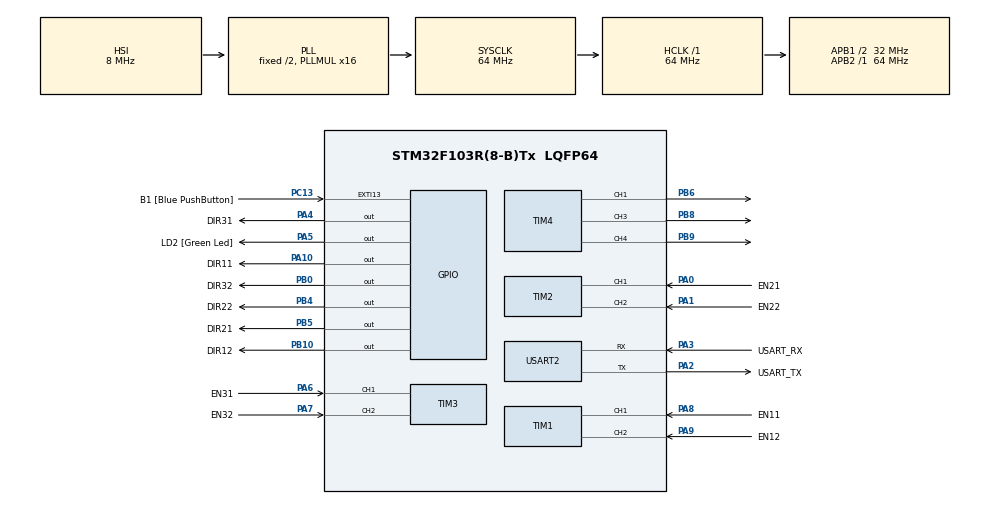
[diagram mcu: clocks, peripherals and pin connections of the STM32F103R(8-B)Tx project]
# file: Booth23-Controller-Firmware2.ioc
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Mcu.Family=STM32F1
Mcu.Name=STM32F103R(8-B)Tx
Mcu.Package=LQFP64
NVIC.EXTI15_10_IRQn=true\:0\:0\:false\:false\:true\:true\:true\:true
NVIC.PriorityGroup=NVIC_PRIORITYGROUP_4
PA0-WKUP.GPIO_Label=EN21
PA0-WKUP.Signal=S_TIM2_CH1_ETR
PA1.GPIO_Label=EN22
PA1.Signal=S_TIM2_CH2
PA10.GPIO_Label=DIR11
PA10.Signal=GPIO_Output
PA13.GPIO_Label=TMS
PA13.Mode=Serial_Wire
PA13.Signal=SYS_JTMS-SWDIO
PA14.GPIO_Label=TCK
PA14.Mode=Serial_Wire
PA14.Signal=SYS_JTCK-SWCLK
PA2.GPIO_Label=USART_TX
PA2.GPIO_Mode=GPIO_MODE_AF_PP
PA2.GPIO_PuPd=GPIO_NOPULL
PA2.GPIO_Speed=GPIO_SPEED_FREQ_LOW
PA2.Mode=Asynchronous
PA2.Signal=USART2_TX
PA3.GPIO_Label=USART_RX
PA3.GPIO_Mode=GPIO_MODE_AF_PP
PA3.GPIO_PuPd=GPIO_NOPULL
PA3.GPIO_Speed=GPIO_SPEED_FREQ_LOW
PA3.Mode=Asynchronous
PA3.Signal=USART2_RX
PA4.GPIO_Label=DIR31
PA4.Signal=GPIO_Output
PA5.GPIO_Label=LD2 [Green Led]
PA5.GPIO_ModeDefaultOutputPP=GPIO_MODE_OUTPUT_PP
PA5.GPIO_PuPd=GPIO_NOPULL
PA5.GPIO_Speed=GPIO_SPEED_FREQ_LOW
PA5.Signal=GPIO_Output
PA6.GPIO_Label=EN31
PA6.Signal=S_TIM3_CH1
PA7.GPIO_Label=EN32
PA7.Signal=S_TIM3_CH2
PA8.GPIO_Label=EN11
PA8.Signal=S_TIM1_CH1
PA9.GPIO_Label=EN12
PA9.Signal=S_TIM1_CH2
PB0.GPIO_Label=DIR32
PB0.Signal=GPIO_Output
PB10.GPIO_Label=DIR12
PB10.Signal=GPIO_Output
PB3.GPIO_Label=SWO
PB3.Signal=SYS_JTDO-TRACESWO
PB4.GPIO_Label=DIR22
PB4.Signal=GPIO_Output
PB5.GPIO_Label=DIR21
PB5.Signal=GPIO_Output
PB6.GPIO_ModeDefaultPP=GPIO_MODE_AF_PP
PB6.GPIO_Speed=GPIO_SPEED_FREQ_LOW
PB6.Signal=S_TIM4_CH1
PB8.GPIO_ModeDefaultPP=GPIO_MODE_AF_PP
PB8.GPIO_Speed=GPIO_SPEED_FREQ_LOW
PB8.Signal=S_TIM4_CH3
PB9.GPIO_ModeDefaultPP=GPIO_MODE_AF_PP
PB9.GPIO_Speed=GPIO_SPEED_FREQ_LOW
PB9.Signal=S_TIM4_CH4
PC13-TAMPER-RTC.GPIO_Label=B1 [Blue PushButton]
PC13-TAMPER-RTC.GPIO_PuPd=GPIO_NOPULL
PC13-TAMPER-RTC.Signal=GPXTI13
PC14-OSC32_IN.Mode=LSE-External-Oscillator
PC14-OSC32_IN.Signal=RCC_OSC32_IN
PC15-OSC32_OUT.Mode=LSE-External-Oscillator
PC15-OSC32_OUT.Signal=RCC_OSC32_OUT
PD0-OSC_IN.Mode=HSE-External-Oscillator
PD0-OSC_IN.Signal=RCC_OSC_IN
PD1-OSC_OUT.Mode=HSE-External-Oscillator
PD1-OSC_OUT.Signal=RCC_OSC_OUT
ProjectManager.HeapSize=0x200
ProjectManager.StackSize=0x400
ProjectManager.TargetToolchain=STM32CubeIDE
RCC.AHBFreq_Value=64000000
RCC.APB1CLKDivider=RCC_HCLK_DIV2
RCC.APB1Freq_Value=32000000
RCC.APB1TimFreq_Value=64000000
RCC.APB2Freq_Value=64000000
RCC.APB2TimFreq_Value=64000000
RCC.HCLKFreq_Value=64000000
RCC.PLLMUL=RCC_PLL_MUL16
RCC.RTCClockSelection=RCC_RTCCLKSOURCE_LSE
RCC.SYSCLKFreq_VALUE=64000000
RCC.SYSCLKSource=RCC_SYSCLKSOURCE_PLLCLK
RCC.USBFreq_Value=64000000
SH.S_TIM1_CH1.0=TIM1_CH1,Encoder_Interface
SH.S_TIM1_CH2.0=TIM1_CH2,Encoder_Interface
SH.S_TIM2_CH1_ETR.0=TIM2_CH1,Encoder_Interface
SH.S_TIM2_CH2.0=TIM2_CH2,Encoder_Interface
SH.S_TIM3_CH1.0=TIM3_CH1,Encoder_Interface
SH.S_TIM3_CH2.0=TIM3_CH2,Encoder_Interface
SH.S_TIM4_CH1.0=TIM4_CH1,PWM Generation1 CH1
SH.S_TIM4_CH3.0=TIM4_CH3,PWM Generation3 CH3
SH.S_TIM4_CH4.0=TIM4_CH4,PWM Generation4 CH4
TIM4.AutoReloadPreload=TIM_AUTORELOAD_PRELOAD_ENABLE
TIM4.Channel-PWM\ Generation1\ CH1=TIM_CHANNEL_1
TIM4.Channel-PWM\ Generation3\ CH3=TIM_CHANNEL_3
TIM4.Channel-PWM\ Generation4\ CH4=TIM_CHANNEL_4
USART2.VirtualMode=VM_ASYNC
VP_TIM4_VS_ClockSourceINT.Mode=Internal
board=NUCLEO-F103RB

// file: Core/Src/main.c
/* USER CODE BEGIN Header */
/**
  ******************************************************************************
  * @file           : main.c
  * @brief          : Main program body
  ******************************************************************************
  * @attention
  *
  * Copyright (c) 2023 STMicroelectronics.
  * All rights reserved.
  *
  * This software is licensed under terms that can be found in the LICENSE file
  * in the root directory of this software component.
  * If no LICENSE file comes with this software, it is provided AS-IS.
  *
  ******************************************************************************
  */
/* USER CODE END Header */
#include "main.h"

/* USER CODE BEGIN PTD */
typedef struct Motor_t {
	GPIO_TypeDef *dir1_port;
	uint16_t dir1_pin;
	GPIO_TypeDef *dir2_port;
	uint16_t dir2_pin;
	TIM_HandleTypeDef *pwm_tim;
	uint16_t pwm_tim_ch;
} Motor_t;

typedef enum Direction_t {
	OFF = 0,
	BLOCK = 1,
	FORWARD = 2,
	BACK = 3
} Direction_t;
/* USER CODE END PTD */

TIM_HandleTypeDef htim1;
TIM_HandleTypeDef htim2;
TIM_HandleTypeDef htim3;
TIM_HandleTypeDef htim4;

UART_HandleTypeDef huart2;

/* USER CODE BEGIN PV */
Motor_t motor1 = {
	.dir1_port = GPIOA,
	.dir1_pin = DIR11_Pin,
	.dir2_port = GPIOB,
	.dir2_pin = DIR12_Pin,
	.pwm_tim = &htim4,
	.pwm_tim_ch = TIM_CHANNEL_1
};

/* USER CODE END PV */

void SystemClock_Config(void);
static void MX_GPIO_Init(void);
static void MX_TIM1_Init(void);
static void MX_TIM2_Init(void);
static void MX_TIM3_Init(void);
static void MX_TIM4_Init(void);
static void MX_USART2_UART_Init(void);
/* USER CODE BEGIN PFP */
void drive_motor(Motor_t* motor, Direction_t dir, uint16_t speed);
/* USER CODE END PFP */

int main(void)
{

  /* MCU Configuration--------------------------------------------------------*/

  /* Reset of all peripherals, Initializes the Flash interface and the Systick. */
  HAL_Init();

  /* Configure the system clock */
  SystemClock_Config();

  /* Initialize all configured peripherals */
  MX_GPIO_Init();
  MX_TIM1_Init();
  MX_TIM2_Init();
  MX_TIM3_Init();
  MX_TIM4_Init();
  MX_USART2_UART_Init();
  /* USER CODE BEGIN 2 */
  HAL_TIM_PWM_Start(&htim4, TIM_CHANNEL_1);
  HAL_TIM_PWM_Start(&htim4, TIM_CHANNEL_3);
  HAL_TIM_PWM_Start(&htim4, TIM_CHANNEL_4);

  HAL_TIM_Encoder_Start(&htim1, TIM_CHANNEL_ALL);
  drive_motor(&motor1, BACK, 65000);

  uint8_t MSG[50] = {'\0'};
  /* USER CODE END 2 */

  /* Infinite loop */
  while (1)
  {
	int val = (TIM1->CNT)>>2;
	sprintf(MSG, "%d %d %d\n\r", (TIM1->CNT)>>2, (TIM2->CNT)>>2, (TIM3->CNT)>>2);
	HAL_UART_Transmit(&huart2, MSG, sizeof(MSG), 100);

  }
}

void SystemClock_Config(void)
{
  RCC_OscInitTypeDef RCC_OscInitStruct = {0};
  RCC_ClkInitTypeDef RCC_ClkInitStruct = {0};

  /** Initializes the RCC Oscillators according to the specified parameters
  * in the RCC_OscInitTypeDef structure.
  */
  RCC_OscInitStruct.OscillatorType = RCC_OSCILLATORTYPE_HSI;
  RCC_OscInitStruct.HSIState = RCC_HSI_ON;
  RCC_OscInitStruct.HSICalibrationValue = RCC_HSICALIBRATION_DEFAULT;
  RCC_OscInitStruct.PLL.PLLState = RCC_PLL_ON;
  RCC_OscInitStruct.PLL.PLLSource = RCC_PLLSOURCE_HSI_DIV2;
  RCC_OscInitStruct.PLL.PLLMUL = RCC_PLL_MUL16;
  if (HAL_RCC_OscConfig(&RCC_OscInitStruct) != HAL_OK)
  {
    Error_Handler();
  }

  /** Initializes the CPU, AHB and APB buses clocks
  */
  RCC_ClkInitStruct.ClockType = RCC_CLOCKTYPE_HCLK|RCC_CLOCKTYPE_SYSCLK
                              |RCC_CLOCKTYPE_PCLK1|RCC_CLOCKTYPE_PCLK2;
  RCC_ClkInitStruct.SYSCLKSource = RCC_SYSCLKSOURCE_PLLCLK;
  RCC_ClkInitStruct.AHBCLKDivider = RCC_SYSCLK_DIV1;
  RCC_ClkInitStruct.APB1CLKDivider = RCC_HCLK_DIV2;
  RCC_ClkInitStruct.APB2CLKDivider = RCC_HCLK_DIV1;

  if (HAL_RCC_ClockConfig(&RCC_ClkInitStruct, FLASH_LATENCY_2) != HAL_OK)
  {
    Error_Handler();
  }
}

static void MX_TIM1_Init(void)
{

  TIM_Encoder_InitTypeDef sConfig = {0};
  TIM_MasterConfigTypeDef sMasterConfig = {0};

  htim1.Instance = TIM1;
  htim1.Init.Prescaler = 0;
  htim1.Init.CounterMode = TIM_COUNTERMODE_UP;
  htim1.Init.Period = 65535;
  htim1.Init.ClockDivision = TIM_CLOCKDIVISION_DIV1;
  htim1.Init.RepetitionCounter = 0;
  htim1.Init.AutoReloadPreload = TIM_AUTORELOAD_PRELOAD_DISABLE;
  sConfig.EncoderMode = TIM_ENCODERMODE_TI1;
  sConfig.IC1Polarity = TIM_ICPOLARITY_RISING;
  sConfig.IC1Selection = TIM_ICSELECTION_DIRECTTI;
  sConfig.IC1Prescaler = TIM_ICPSC_DIV1;
  sConfig.IC1Filter = 0;
  sConfig.IC2Polarity = TIM_ICPOLARITY_RISING;
  sConfig.IC2Selection = TIM_ICSELECTION_DIRECTTI;
  sConfig.IC2Prescaler = TIM_ICPSC_DIV1;
  sConfig.IC2Filter = 0;
  if (HAL_TIM_Encoder_Init(&htim1, &sConfig) != HAL_OK)
  {
    Error_Handler();
  }
  sMasterConfig.MasterOutputTrigger = TIM_TRGO_RESET;
  sMasterConfig.MasterSlaveMode = TIM_MASTERSLAVEMODE_DISABLE;
  if (HAL_TIMEx_MasterConfigSynchronization(&htim1, &sMasterConfig) != HAL_OK)
  {
    Error_Handler();
  }

}

static void MX_TIM2_Init(void)
{

  TIM_Encoder_InitTypeDef sConfig = {0};
  TIM_MasterConfigTypeDef sMasterConfig = {0};

  htim2.Instance = TIM2;
  htim2.Init.Prescaler = 0;
  htim2.Init.CounterMode = TIM_COUNTERMODE_UP;
  htim2.Init.Period = 65535;
  htim2.Init.ClockDivision = TIM_CLOCKDIVISION_DIV1;
  htim2.Init.AutoReloadPreload = TIM_AUTORELOAD_PRELOAD_DISABLE;
  sConfig.EncoderMode = TIM_ENCODERMODE_TI1;
  sConfig.IC1Polarity = TIM_ICPOLARITY_RISING;
  sConfig.IC1Selection = TIM_ICSELECTION_DIRECTTI;
  sConfig.IC1Prescaler = TIM_ICPSC_DIV1;
  sConfig.IC1Filter = 0;
  sConfig.IC2Polarity = TIM_ICPOLARITY_RISING;
  sConfig.IC2Selection = TIM_ICSELECTION_DIRECTTI;
  sConfig.IC2Prescaler = TIM_ICPSC_DIV1;
  sConfig.IC2Filter = 0;
  if (HAL_TIM_Encoder_Init(&htim2, &sConfig) != HAL_OK)
  {
    Error_Handler();
  }
  sMasterConfig.MasterOutputTrigger = TIM_TRGO_RESET;
  sMasterConfig.MasterSlaveMode = TIM_MASTERSLAVEMODE_DISABLE;
  if (HAL_TIMEx_MasterConfigSynchronization(&htim2, &sMasterConfig) != HAL_OK)
  {
    Error_Handler();
  }

}

static void MX_TIM3_Init(void)
{

  TIM_Encoder_InitTypeDef sConfig = {0};
  TIM_MasterConfigTypeDef sMasterConfig = {0};

  htim3.Instance = TIM3;
  htim3.Init.Prescaler = 0;
  htim3.Init.CounterMode = TIM_COUNTERMODE_UP;
  htim3.Init.Period = 65535;
  htim3.Init.ClockDivision = TIM_CLOCKDIVISION_DIV1;
  htim3.Init.AutoReloadPreload = TIM_AUTORELOAD_PRELOAD_DISABLE;
  sConfig.EncoderMode = TIM_ENCODERMODE_TI1;
  sConfig.IC1Polarity = TIM_ICPOLARITY_RISING;
  sConfig.IC1Selection = TIM_ICSELECTION_DIRECTTI;
  sConfig.IC1Prescaler = TIM_ICPSC_DIV1;
  sConfig.IC1Filter = 0;
  sConfig.IC2Polarity = TIM_ICPOLARITY_RISING;
  sConfig.IC2Selection = TIM_ICSELECTION_DIRECTTI;
  sConfig.IC2Prescaler = TIM_ICPSC_DIV1;
  sConfig.IC2Filter = 0;
  if (HAL_TIM_Encoder_Init(&htim3, &sConfig) != HAL_OK)
  {
    Error_Handler();
  }
  sMasterConfig.MasterOutputTrigger = TIM_TRGO_RESET;
  sMasterConfig.MasterSlaveMode = TIM_MASTERSLAVEMODE_DISABLE;
  if (HAL_TIMEx_MasterConfigSynchronization(&htim3, &sMasterConfig) != HAL_OK)
  {
    Error_Handler();
  }

}

static void MX_TIM4_Init(void)
{

  TIM_ClockConfigTypeDef sClockSourceConfig = {0};
  TIM_MasterConfigTypeDef sMasterConfig = {0};
  TIM_OC_InitTypeDef sConfigOC = {0};

  htim4.Instance = TIM4;
  htim4.Init.Prescaler = 0;
  htim4.Init.CounterMode = TIM_COUNTERMODE_UP;
  htim4.Init.Period = 65535;
  htim4.Init.ClockDivision = TIM_CLOCKDIVISION_DIV1;
  htim4.Init.AutoReloadPreload = TIM_AUTORELOAD_PRELOAD_ENABLE;
  if (HAL_TIM_Base_Init(&htim4) != HAL_OK)
  {
    Error_Handler();
  }
  sClockSourceConfig.ClockSource = TIM_CLOCKSOURCE_INTERNAL;
  if (HAL_TIM_ConfigClockSource(&htim4, &sClockSourceConfig) != HAL_OK)
  {
    Error_Handler();
  }
  if (HAL_TIM_PWM_Init(&htim4) != HAL_OK)
  {
    Error_Handler();
  }
  sMasterConfig.MasterOutputTrigger = TIM_TRGO_RESET;
  sMasterConfig.MasterSlaveMode = TIM_MASTERSLAVEMODE_DISABLE;
  if (HAL_TIMEx_MasterConfigSynchronization(&htim4, &sMasterConfig) != HAL_OK)
  {
    Error_Handler();
  }
  sConfigOC.OCMode = TIM_OCMODE_PWM1;
  sConfigOC.Pulse = 0;
  sConfigOC.OCPolarity = TIM_OCPOLARITY_HIGH;
  sConfigOC.OCFastMode = TIM_OCFAST_DISABLE;
  if (HAL_TIM_PWM_ConfigChannel(&htim4, &sConfigOC, TIM_CHANNEL_1) != HAL_OK)
  {
    Error_Handler();
  }
  if (HAL_TIM_PWM_ConfigChannel(&htim4, &sConfigOC, TIM_CHANNEL_3) != HAL_OK)
  {
    Error_Handler();
  }
  if (HAL_TIM_PWM_ConfigChannel(&htim4, &sConfigOC, TIM_CHANNEL_4) != HAL_OK)
  {
    Error_Handler();
  }
  HAL_TIM_MspPostInit(&htim4);

}

static void MX_USART2_UART_Init(void)
{

  huart2.Instance = USART2;
  huart2.Init.BaudRate = 115200;
  huart2.Init.WordLength = UART_WORDLENGTH_8B;
  huart2.Init.StopBits = UART_STOPBITS_1;
  huart2.Init.Parity = UART_PARITY_NONE;
  huart2.Init.Mode = UART_MODE_TX_RX;
  huart2.Init.HwFlowCtl = UART_HWCONTROL_NONE;
  huart2.Init.OverSampling = UART_OVERSAMPLING_16;
  if (HAL_UART_Init(&huart2) != HAL_OK)
  {
    Error_Handler();
  }

}

static void MX_GPIO_Init(void)
{
  GPIO_InitTypeDef GPIO_InitStruct = {0};

  /* GPIO Ports Clock Enable */
  __HAL_RCC_GPIOC_CLK_ENABLE();
  __HAL_RCC_GPIOD_CLK_ENABLE();
  __HAL_RCC_GPIOA_CLK_ENABLE();
  __HAL_RCC_GPIOB_CLK_ENABLE();

  /*Configure GPIO pin Output Level */
  HAL_GPIO_WritePin(GPIOA, DIR31_Pin|LD2_Pin|DIR11_Pin, GPIO_PIN_RESET);

  /*Configure GPIO pin Output Level */
  HAL_GPIO_WritePin(GPIOB, DIR32_Pin|DIR12_Pin|DIR22_Pin|DIR21_Pin, GPIO_PIN_RESET);

  /*Configure GPIO pin : B1_Pin */
  GPIO_InitStruct.Pin = B1_Pin;
  GPIO_InitStruct.Mode = GPIO_MODE_IT_RISING;
  GPIO_InitStruct.Pull = GPIO_NOPULL;
  HAL_GPIO_Init(B1_GPIO_Port, &GPIO_InitStruct);

  /*Configure GPIO pins : DIR31_Pin LD2_Pin DIR11_Pin */
  GPIO_InitStruct.Pin = DIR31_Pin|LD2_Pin|DIR11_Pin;
  GPIO_InitStruct.Mode = GPIO_MODE_OUTPUT_PP;
  GPIO_InitStruct.Pull = GPIO_NOPULL;
  GPIO_InitStruct.Speed = GPIO_SPEED_FREQ_LOW;
  HAL_GPIO_Init(GPIOA, &GPIO_InitStruct);

  /*Configure GPIO pins : DIR32_Pin DIR12_Pin DIR22_Pin DIR21_Pin */
  GPIO_InitStruct.Pin = DIR32_Pin|DIR12_Pin|DIR22_Pin|DIR21_Pin;
  GPIO_InitStruct.Mode = GPIO_MODE_OUTPUT_PP;
  GPIO_InitStruct.Pull = GPIO_NOPULL;
  GPIO_InitStruct.Speed = GPIO_SPEED_FREQ_LOW;
  HAL_GPIO_Init(GPIOB, &GPIO_InitStruct);

  /* EXTI interrupt init*/
  HAL_NVIC_SetPriority(EXTI15_10_IRQn, 0, 0);
  HAL_NVIC_EnableIRQ(EXTI15_10_IRQn);

}

/* USER CODE BEGIN 4 */
void drive_motor(Motor_t* motor, Direction_t dir, uint16_t speed)
{
	switch (dir) {
		case OFF:
			HAL_GPIO_WritePin(motor->dir1_port, motor->dir1_pin, 0);
			HAL_GPIO_WritePin(motor->dir2_port, motor->dir2_pin, 0);
			break;
		case BLOCK:
			HAL_GPIO_WritePin(motor->dir1_port, motor->dir1_pin, 1);
			HAL_GPIO_WritePin(motor->dir2_port, motor->dir2_pin, 1);
			break;
		case FORWARD:
			HAL_GPIO_WritePin(motor->dir1_port, motor->dir1_pin, 1);
			HAL_GPIO_WritePin(motor->dir2_port, motor->dir2_pin, 0);
			break;
		case BACK:
			HAL_GPIO_WritePin(motor->dir1_port, motor->dir1_pin, 0);
			HAL_GPIO_WritePin(motor->dir2_port, motor->dir2_pin, 1);
			break;
	};

	__HAL_TIM_SET_COMPARE(motor->pwm_tim, motor->pwm_tim_ch, speed);
}
/* USER CODE END 4 */

void Error_Handler(void)
{
  __disable_irq();
  while (1)
  {
  }
}
